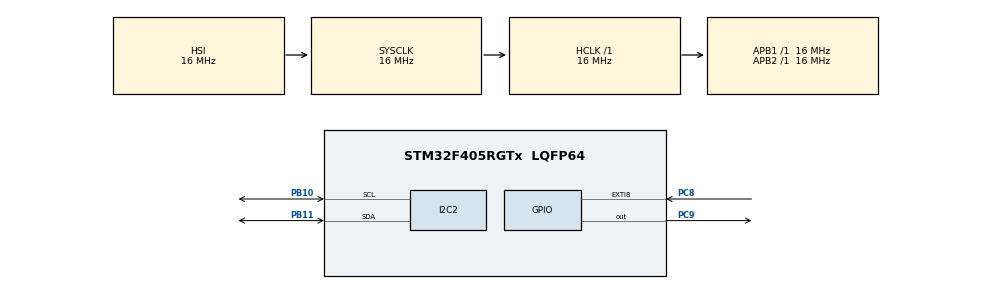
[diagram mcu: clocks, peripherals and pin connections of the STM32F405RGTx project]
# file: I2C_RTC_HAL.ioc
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Mcu.Family=STM32F4
Mcu.Name=STM32F405RGTx
Mcu.Package=LQFP64
NVIC.EXTI9_5_IRQn=true\:0\:0\:false\:false\:true\:true\:true\:true
NVIC.PriorityGroup=NVIC_PRIORITYGROUP_4
PA13.Mode=Serial_Wire
PA13.Signal=SYS_JTMS-SWDIO
PA14.Mode=Serial_Wire
PA14.Signal=SYS_JTCK-SWCLK
PB10.Mode=I2C
PB10.Signal=I2C2_SCL
PB11.Mode=I2C
PB11.Signal=I2C2_SDA
PC8.GPIO_ModeDefaultEXTI=GPIO_MODE_IT_FALLING
PC8.GPIO_PuPd=GPIO_PULLUP
PC8.Signal=GPXTI8
PC9.Signal=GPIO_Output
ProjectManager.HeapSize=0x200
ProjectManager.StackSize=0x400
ProjectManager.TargetToolchain=STM32CubeIDE
RCC.AHBFreq_Value=16000000
RCC.APB1Freq_Value=16000000
RCC.APB2Freq_Value=16000000
RCC.CortexFreq_Value=16000000
RCC.HSE_VALUE=25000000
RCC.HSI_VALUE=16000000
RCC.LSE_VALUE=32768
RCC.SYSCLKFreq_VALUE=16000000
RCC.VCOOutputFreq_Value=192000000
board=custom

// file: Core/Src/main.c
/* USER CODE BEGIN Header */
/**
  ******************************************************************************
  * @file           : main.c
  * @brief          : Main program body
  ******************************************************************************
  * @attention
  *
  * Copyright (c) 2026 STMicroelectronics.
  * All rights reserved.
  *
  * This software is licensed under terms that can be found in the LICENSE file
  * in the root directory of this software component.
  * If no LICENSE file comes with this software, it is provided AS-IS.
  *
  ******************************************************************************
  */
/* USER CODE END Header */
#include "main.h"

/* USER CODE BEGIN PD */
#define RTC_ADDR 0x68<<1
/* USER CODE END PD */

I2C_HandleTypeDef hi2c2;

void SystemClock_Config(void);
static void MX_GPIO_Init(void);
static void MX_I2C2_Init(void);
/* USER CODE BEGIN PFP */
uint8_t bcd_to_decimal(uint8_t value);
uint8_t decimal_to_bcd(uint8_t value);
uint8_t rtc_read_seconds(void);
uint8_t rtc_read_mins(void);
uint8_t rtc_read_hours(uint8_t *hour, uint8_t *is_pm, uint8_t *is_12hr);
void rtc_alarm_seconds_match(uint8_t sec);
void alarm_status_check(void);
/* USER CODE END PFP */

/* USER CODE BEGIN 0 */
uint8_t time_sec,time_min;
volatile uint8_t alarm_flag=0;
uint8_t hour,is_pm,is_12hr;
void rtc_set_12hr_pm(void)
{
    uint8_t hour = 0x72;

    if (HAL_I2C_Mem_Write(&hi2c2,RTC_ADDR,0x02,I2C_MEMADD_SIZE_8BIT,&hour,1,HAL_MAX_DELAY) != HAL_OK)
    {
        Error_Handler();
    }
}
void HAL_GPIO_EXTI_Callback(uint16_t GPIO_Pin)
{
    if(GPIO_Pin == GPIO_PIN_8)
    {
        alarm_flag=1;
    }
}
void alarm_status_check(void)
{
	if(alarm_flag)
	{
		alarm_flag = 0;

		uint8_t status;

		HAL_I2C_Mem_Read(&hi2c2,RTC_ADDR,0x0F,I2C_MEMADD_SIZE_8BIT,&status,1,HAL_MAX_DELAY);

		status &= ~0x01;

		HAL_I2C_Mem_Write(&hi2c2,RTC_ADDR,0x0F,I2C_MEMADD_SIZE_8BIT,&status,1,HAL_MAX_DELAY);

		HAL_GPIO_TogglePin(GPIOC, GPIO_PIN_9);
	}
}
/* USER CODE END 0 */

int main(void)
{

  /* MCU Configuration--------------------------------------------------------*/

  /* Reset of all peripherals, Initializes the Flash interface and the Systick. */
  HAL_Init();

  /* Configure the system clock */
  SystemClock_Config();

  /* Initialize all configured peripherals */
  MX_GPIO_Init();
  MX_I2C2_Init();
  /* USER CODE BEGIN 2 */

  rtc_alarm_seconds_match(30);
  /* USER CODE END 2 */

  /* Infinite loop */
  while (1)
 {
	  time_sec = rtc_read_seconds();
	  time_min = rtc_read_mins();
	 // rtc_set_12hr_pm();
	  rtc_read_hours(&hour, &is_pm, &is_12hr);
	  alarm_status_check();
	  HAL_Delay(100);
  }
}

void SystemClock_Config(void)
{
  RCC_OscInitTypeDef RCC_OscInitStruct = {0};
  RCC_ClkInitTypeDef RCC_ClkInitStruct = {0};

  /** Configure the main internal regulator output voltage
  */
  __HAL_RCC_PWR_CLK_ENABLE();
  __HAL_PWR_VOLTAGESCALING_CONFIG(PWR_REGULATOR_VOLTAGE_SCALE1);

  /** Initializes the RCC Oscillators according to the specified parameters
  * in the RCC_OscInitTypeDef structure.
  */
  RCC_OscInitStruct.OscillatorType = RCC_OSCILLATORTYPE_HSI;
  RCC_OscInitStruct.HSIState = RCC_HSI_ON;
  RCC_OscInitStruct.HSICalibrationValue = RCC_HSICALIBRATION_DEFAULT;
  RCC_OscInitStruct.PLL.PLLState = RCC_PLL_NONE;
  if (HAL_RCC_OscConfig(&RCC_OscInitStruct) != HAL_OK)
  {
    Error_Handler();
  }

  /** Initializes the CPU, AHB and APB buses clocks
  */
  RCC_ClkInitStruct.ClockType = RCC_CLOCKTYPE_HCLK|RCC_CLOCKTYPE_SYSCLK
                              |RCC_CLOCKTYPE_PCLK1|RCC_CLOCKTYPE_PCLK2;
  RCC_ClkInitStruct.SYSCLKSource = RCC_SYSCLKSOURCE_HSI;
  RCC_ClkInitStruct.AHBCLKDivider = RCC_SYSCLK_DIV1;
  RCC_ClkInitStruct.APB1CLKDivider = RCC_HCLK_DIV1;
  RCC_ClkInitStruct.APB2CLKDivider = RCC_HCLK_DIV1;

  if (HAL_RCC_ClockConfig(&RCC_ClkInitStruct, FLASH_LATENCY_0) != HAL_OK)
  {
    Error_Handler();
  }
}

static void MX_I2C2_Init(void)
{

  hi2c2.Instance = I2C2;
  hi2c2.Init.ClockSpeed = 100000;
  hi2c2.Init.DutyCycle = I2C_DUTYCYCLE_2;
  hi2c2.Init.OwnAddress1 = 0;
  hi2c2.Init.AddressingMode = I2C_ADDRESSINGMODE_7BIT;
  hi2c2.Init.DualAddressMode = I2C_DUALADDRESS_DISABLE;
  hi2c2.Init.OwnAddress2 = 0;
  hi2c2.Init.GeneralCallMode = I2C_GENERALCALL_DISABLE;
  hi2c2.Init.NoStretchMode = I2C_NOSTRETCH_DISABLE;
  if (HAL_I2C_Init(&hi2c2) != HAL_OK)
  {
    Error_Handler();
  }

}

static void MX_GPIO_Init(void)
{
  GPIO_InitTypeDef GPIO_InitStruct = {0};

  /* GPIO Ports Clock Enable */
  __HAL_RCC_GPIOB_CLK_ENABLE();
  __HAL_RCC_GPIOC_CLK_ENABLE();
  __HAL_RCC_GPIOA_CLK_ENABLE();

  /*Configure GPIO pin Output Level */
  HAL_GPIO_WritePin(GPIOC, GPIO_PIN_9, GPIO_PIN_RESET);

  /*Configure GPIO pin : PC8 */
  GPIO_InitStruct.Pin = GPIO_PIN_8;
  GPIO_InitStruct.Mode = GPIO_MODE_IT_FALLING;
  GPIO_InitStruct.Pull = GPIO_PULLUP;
  HAL_GPIO_Init(GPIOC, &GPIO_InitStruct);

  /*Configure GPIO pin : PC9 */
  GPIO_InitStruct.Pin = GPIO_PIN_9;
  GPIO_InitStruct.Mode = GPIO_MODE_OUTPUT_PP;
  GPIO_InitStruct.Pull = GPIO_NOPULL;
  GPIO_InitStruct.Speed = GPIO_SPEED_FREQ_LOW;
  HAL_GPIO_Init(GPIOC, &GPIO_InitStruct);

  /* EXTI interrupt init*/
  HAL_NVIC_SetPriority(EXTI9_5_IRQn, 0, 0);
  HAL_NVIC_EnableIRQ(EXTI9_5_IRQn);

}

/* USER CODE BEGIN 4 */
uint8_t rtc_read_seconds(void)
{
    uint8_t seconds;
    uint8_t reg = 0x00;

    if(HAL_I2C_Mem_Read(&hi2c2,RTC_ADDR,reg,I2C_MEMADD_SIZE_8BIT,&seconds,1,HAL_MAX_DELAY) != HAL_OK)
    {
        Error_Handler();
    }

    seconds &= 0x7F;   // remove 8th bit

    return bcd_to_decimal(seconds);
}
uint8_t rtc_read_mins(void)
{
    uint8_t min;
    uint8_t reg = 0x01;

    if(HAL_I2C_Mem_Read(&hi2c2,RTC_ADDR,reg,I2C_MEMADD_SIZE_8BIT,&min,1,HAL_MAX_DELAY) != HAL_OK)
    {
        Error_Handler();
    }

    min &= 0x7F;   // remove 8th bit

    return bcd_to_decimal(min);
}
uint8_t rtc_read_hours(uint8_t *hour, uint8_t *is_pm, uint8_t *is_12hr)
{
    uint8_t hours;
    uint8_t reg = 0x02;

    if (HAL_I2C_Mem_Read(&hi2c2,RTC_ADDR,reg,I2C_MEMADD_SIZE_8BIT,&hours,1,HAL_MAX_DELAY) != HAL_OK)
    {
        Error_Handler();
    }

    /*
     * DS3231 bit 6:
     * 0 = 24-hour mode
     * 1 = 12-hour mode
     */

    if (hours & 0x40)
    {
        /* 12-hour mode */
        *is_12hr = 1;

        /*
         * Bit 5:
         * 0 = AM
         * 1 = PM
         */
        if (hours & 0x20)
        {
            *is_pm = 1;
        }
        else
        {
            *is_pm = 0;
        }

        /*
         * Keep only hour bits
         * Bits 4:0
         */
        hours &= 0x1F;

        *hour = bcd_to_decimal(hours);
    }
    else
    {
        /* 24-hour mode */
        *is_12hr = 0;

        /*
         * AM/PM is not applicable
         */
        *is_pm = 0;

        /*
         * Keep hour bits
         * Bits 5:0
         */
        hours &= 0x3F;

        *hour = bcd_to_decimal(hours);
    }

    return *hour;
}

void rtc_alarm_seconds_match(uint8_t sec)
{
    uint8_t alarm[4];

    alarm[0] = decimal_to_bcd(sec);      // match seconds
    alarm[1] = 0x80;     // ignore minutes
    alarm[2] = 0x80;     // ignore hours
    alarm[3] = 0x80;     // ignore day

    HAL_I2C_Mem_Write(&hi2c2,RTC_ADDR,0x07,I2C_MEMADD_SIZE_8BIT,alarm,4,HAL_MAX_DELAY);

    uint8_t control = 0x05;

    HAL_I2C_Mem_Write(&hi2c2,RTC_ADDR,0x0E,I2C_MEMADD_SIZE_8BIT,&control,1,HAL_MAX_DELAY);

    uint8_t status = 0x00;

    HAL_I2C_Mem_Write(&hi2c2,RTC_ADDR,0x0F,I2C_MEMADD_SIZE_8BIT,&status,1,HAL_MAX_DELAY);
}
uint8_t bcd_to_decimal(uint8_t value)
{
    return ((value >> 4) * 10) + (value & 0x0F);
}

/* decimal to BCD */
uint8_t decimal_to_bcd(uint8_t value)
{
    return ((value / 10) << 4) | (value % 10);
}
/* USER CODE END 4 */

void Error_Handler(void)
{
  __disable_irq();
  while (1)
  {
  }
}
